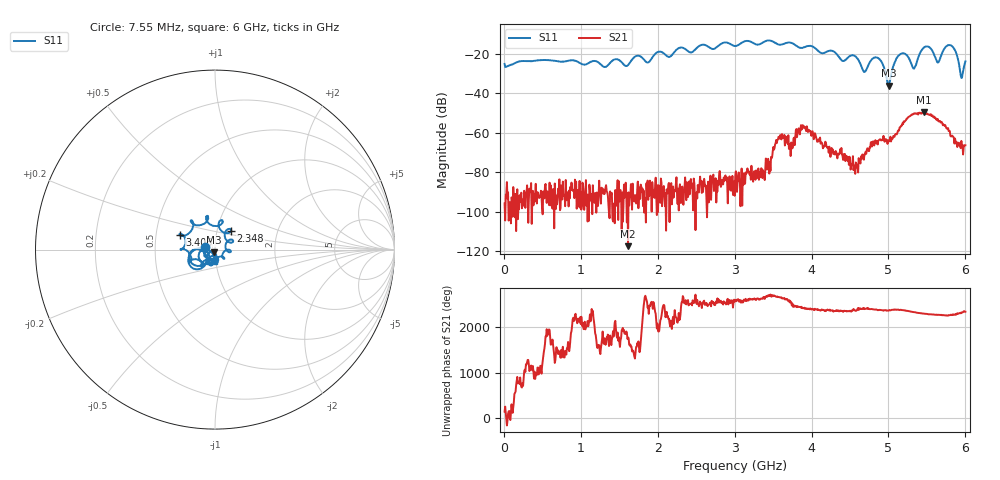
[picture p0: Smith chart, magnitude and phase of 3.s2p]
! NanoVNA-App by OneOfEleven et al v1.1.209 (+OD15)
! Date: 2024-07-30 12:38:52
! Start: 50kHz Stop: 6GHz Points: 801
! S-Parameter data: F S11 S21 S12 S22
# Hz S RI R 50
!  Frequency  S11_Real  S11_Imag  S21_Real  S21_Imag  S12_Real  S12_Imag  S22_Real  S22_Imag
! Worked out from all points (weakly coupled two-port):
!   800 points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, 7.55 MHz to 6 GHz, reference 50 ohm
!   highest |S21| = -49.70 dB at 5.46 GHz (marker M1); lowest = -117.5 dB at 1.613 GHz (marker M2)
!   lowest |S11| = -36.2 dB at 5.003 GHz (marker M3), VSWR 1.03, Z = 49.4 - j1.41 ohm
!   |S11| at or under -10 dB: start of sweep to end of sweep
!   S12 and S22 are empty: the file has one direction only
!   S11 on the Smith chart (normalised r, x): 7.55 MHz: 0.90, +0.03; 2.348 GHz: 1.17, +0.24; 3.405 GHz: 0.67, +0.11; 6 GHz: 0.98, -0.12
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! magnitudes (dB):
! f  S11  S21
! 7.55 MHz  -25.2  -95.8
! 1.013 GHz  -25.3  -97.0
! 1.613 GHz  -25.8  -117.5
! 2.01 GHz  -19.0  -86.6
! 2.348 GHz  -17.4  -87.7
! 3.008 GHz  -16.1  -81.7
! 3.405 GHz  -13.6  -73.1
! 3.585 GHz  -15.5  -63.0
! 3.735 GHz  -14.5  -65.0
! 3.885 GHz  -17.0  -56.2
! 4.005 GHz  -16.3  -59.5
! 4.575 GHz  -21.5  -75.1
! 4.688 GHz  -29.3  -71.0
! 4.868 GHz  -22.3  -64.1
! 5.003 GHz  -36.2  -64.5
! 5.138 GHz  -20.7  -58.9
! 5.333 GHz  -27.5  -50.2
! 5.46 GHz  -16.9  -49.7
! 5.64 GHz  -24.5  -53.1
! 5.805 GHz  -15.7  -61.6
! 5.948 GHz  -32.3  -64.2
! 6 GHz  -23.9  -66.4
